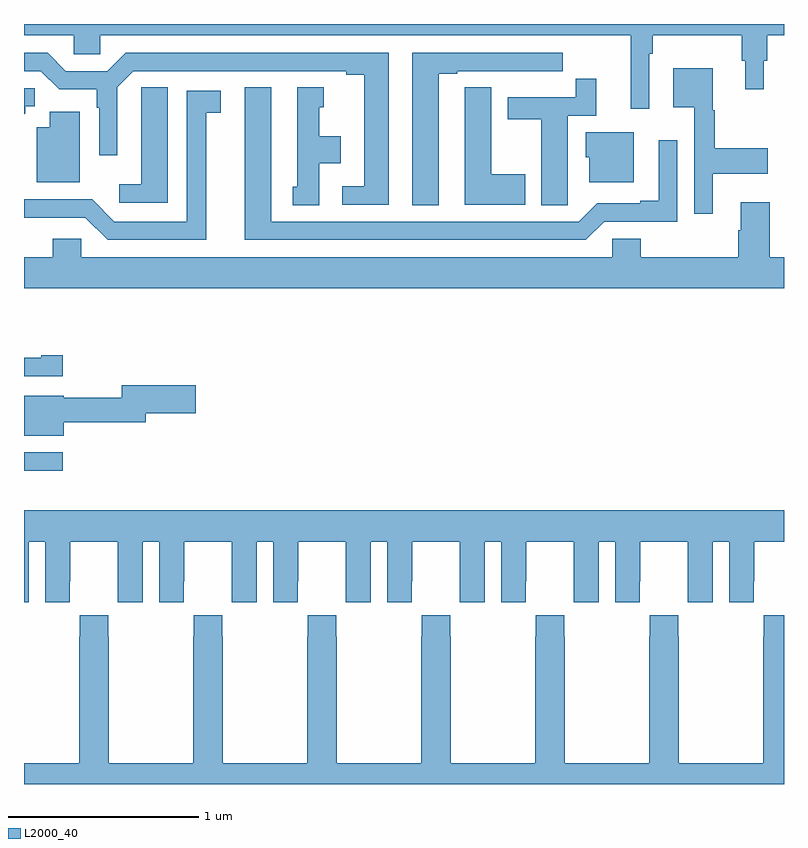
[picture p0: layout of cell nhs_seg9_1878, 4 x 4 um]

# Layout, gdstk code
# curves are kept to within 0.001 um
import gdstk
lib = gdstk.Library(unit=1e-6, precision=1e-09)
def R(c, l, rs):  # rectangles x0, y0, x1, y1
    for r in rs: c.add(gdstk.rectangle(r[:2], r[2:], *l))
def P(c, l, *ps):  # polygons
    for p in ps: c.add(gdstk.Polygon(p, *l))
L2000_40 = (2000, 40)

nhs_seg9_1878 = lib.new_cell('nhs_seg9_1878')
R(nhs_seg9_1878, L2000_40, [(217,1174.149,217.204,1174.245)])
P(nhs_seg9_1878, L2000_40, [(220.29,1176.344),(220.31,1176.344),(220.31,1176.44),(220.777,1176.44),(220.777,1176.306),(220.796,1176.306),(220.796,1176.156),(220.894,1176.156),(220.894,1176.306),(220.913,1176.306),(220.913,1176.44),(221,1176.44),(221,1176.5),(217,1176.5),(217,1176.44),(217.263,1176.44),(217.263,1176.342),(217.401,1176.342),(217.401,1176.44),(220.193,1176.44),(220.193,1176.054),(220.29,1176.054)],
  [(218.92,1176.348),(217.535,1176.348),(217.439,1176.252),(217.221,1176.252),(217.125,1176.348),(217,1176.348),(217,1176.252),(217.089,1176.252),(217.185,1176.156),(217.383,1176.156),(217.383,1176.059),(217.395,1176.059),(217.395,1175.808),(217.491,1175.808),(217.491,1176.168),(217.575,1176.252),(218.696,1176.252),(218.696,1176.232),(218.792,1176.232),(218.792,1175.646),(218.676,1175.646),(218.676,1175.55),(218.92,1175.55)],
  [(219.184,1176.237),(219.28,1176.237),(219.28,1176.252),(219.556,1176.252),(219.556,1176.251),(219.722,1176.251),(219.722,1176.252),(219.835,1176.252),(219.835,1176.348),(219.044,1176.348),(219.044,1175.545),(219.184,1175.545)],
  [(220.624,1175.711),(220.915,1175.711),(220.915,1175.846),(220.636,1175.846),(220.636,1176.047),(220.624,1176.047),(220.624,1176.268),(220.418,1176.268),(220.418,1176.062),(220.527,1176.062),(220.527,1175.502),(220.624,1175.502)],
  [(219.861,1175.656),(219.862,1175.656),(219.862,1176.018),(220.013,1176.018),(220.013,1176.211),(219.904,1176.211),(219.904,1176.114),(219.545,1176.114),(219.545,1175.998),(219.722,1175.998),(219.722,1175.545),(219.861,1175.545)],
  [(219.637,1175.709),(219.46,1175.709),(219.46,1176.167),(219.321,1176.167),(219.321,1176.059),(219.32,1176.059),(219.32,1175.549),(219.637,1175.549)],
  [(217.756,1176.167),(217.617,1176.167),(217.617,1176.059),(217.616,1176.059),(217.616,1175.656),(217.5,1175.656),(217.5,1175.559),(217.756,1175.559)],
  [(220.053,1175.46),(220.437,1175.46),(220.437,1175.887),(220.34,1175.887),(220.34,1175.569),(220.244,1175.569),(220.244,1175.556),(220.017,1175.556),(219.921,1175.46),(218.302,1175.46),(218.302,1176.166),(218.162,1176.166),(218.162,1175.364),(219.957,1175.364)],
  [(218.554,1175.768),(218.668,1175.768),(218.668,1175.908),(218.554,1175.908),(218.554,1176.063),(218.578,1176.063),(218.578,1176.166),(218.438,1176.166),(218.438,1175.643),(218.414,1175.643),(218.414,1175.545),(218.554,1175.545)],
  [(217.006,1176.031),(217.006,1176.066),(217.057,1176.066),(217.057,1176.162),(217,1176.162),(217,1176.025)],
  [(217.96,1176.034),(218.035,1176.034),(218.035,1176.15),(217.856,1176.15),(217.856,1175.46),(217.476,1175.46),(217.359,1175.577),(217,1175.577),(217,1175.48),(217.323,1175.481),(217.44,1175.364),(217.96,1175.364)],
  [(217.294,1176.037),(217.136,1176.037),(217.136,1175.956),(217.067,1175.956),(217.067,1175.666),(217.294,1175.666)],
  [(220.21,1175.929),(219.956,1175.929),(219.956,1175.799),(219.974,1175.799),(219.974,1175.666),(220.21,1175.666)],
  [(221,1175.272),(220.925,1175.272),(220.925,1175.563),(220.772,1175.563),(220.772,1175.414),(220.76,1175.414),(220.76,1175.272),(220.247,1175.272),(220.247,1175.37),(220.095,1175.37),(220.095,1175.272),(217.302,1175.272),(217.302,1175.37),(217.151,1175.37),(217.151,1175.272),(217,1175.272),(217,1175.108),(221,1175.108)],
  [(217.204,1174.756),(217.091,1174.756),(217.091,1174.743),(217,1174.743),(217,1174.647),(217.204,1174.647)],
  [(217.21,1174.404),(217.642,1174.404),(217.642,1174.451),(217.903,1174.451),(217.903,1174.598),(217.514,1174.598),(217.514,1174.532),(217.21,1174.532),(217.21,1174.543),(217,1174.543),(217,1174.334),(217.21,1174.334)],
  [(217.024,1173.776),(217.112,1173.776),(217.112,1173.456),(217.242,1173.456),(217.242,1173.568),(217.243,1173.568),(217.243,1173.776),(217.493,1173.776),(217.493,1173.568),(217.494,1173.568),(217.494,1173.456),(217.624,1173.456),(217.624,1173.776),(217.712,1173.776),(217.712,1173.456),(217.842,1173.456),(217.842,1173.568),(217.843,1173.568),(217.843,1173.776),(218.093,1173.776),(218.093,1173.568),(218.094,1173.568),(218.094,1173.456),(218.224,1173.456),(218.224,1173.776),(218.312,1173.776),(218.312,1173.456),(218.442,1173.456),(218.442,1173.568),(218.443,1173.568),(218.443,1173.776),(218.693,1173.776),(218.693,1173.568),(218.694,1173.568),(218.694,1173.456),(218.824,1173.456),(218.824,1173.776),(218.912,1173.776),(218.912,1173.456),(219.042,1173.456),(219.042,1173.568),(219.043,1173.568),(219.043,1173.776),(219.293,1173.776),(219.293,1173.568),(219.294,1173.568),(219.294,1173.456),(219.424,1173.456),(219.424,1173.776),(219.512,1173.776),(219.512,1173.456),(219.642,1173.456),(219.642,1173.568),(219.643,1173.568),(219.643,1173.776),(219.893,1173.776),(219.893,1173.568),(219.894,1173.568),(219.894,1173.456),(220.024,1173.456),(220.024,1173.776),(220.112,1173.776),(220.112,1173.456),(220.242,1173.456),(220.242,1173.568),(220.243,1173.568),(220.243,1173.776),(220.493,1173.776),(220.493,1173.568),(220.494,1173.568),(220.494,1173.456),(220.624,1173.456),(220.624,1173.776),(220.712,1173.776),(220.712,1173.456),(220.842,1173.456),(220.842,1173.568),(220.843,1173.568),(220.843,1173.776),(221,1173.776),(221,1173.94),(217,1173.94),(217,1173.456),(217.024,1173.456)],
  [(221,1173.388),(220.893,1173.388),(220.893,1173.275),(220.891,1173.275),(220.891,1172.608),(220.446,1172.608),(220.446,1173.275),(220.443,1173.275),(220.443,1173.388),(220.293,1173.388),(220.293,1173.275),(220.291,1173.275),(220.291,1172.608),(219.846,1172.608),(219.846,1173.275),(219.843,1173.275),(219.843,1173.388),(219.693,1173.388),(219.693,1173.275),(219.691,1173.275),(219.691,1172.608),(219.246,1172.608),(219.246,1173.275),(219.243,1173.275),(219.243,1173.388),(219.093,1173.388),(219.093,1173.275),(219.091,1173.275),(219.091,1172.608),(218.646,1172.608),(218.646,1173.275),(218.643,1173.275),(218.643,1173.388),(218.493,1173.388),(218.493,1173.275),(218.491,1173.275),(218.491,1172.608),(218.046,1172.608),(218.046,1173.275),(218.043,1173.275),(218.043,1173.388),(217.893,1173.388),(217.893,1173.275),(217.891,1173.275),(217.891,1172.608),(217.446,1172.608),(217.446,1173.275),(217.443,1173.275),(217.443,1173.388),(217.293,1173.388),(217.293,1173.275),(217.291,1173.275),(217.291,1172.608),(217,1172.608),(217,1172.5),(221,1172.5)])

lib.write_gds('nhs_seg9_1878.gds')
